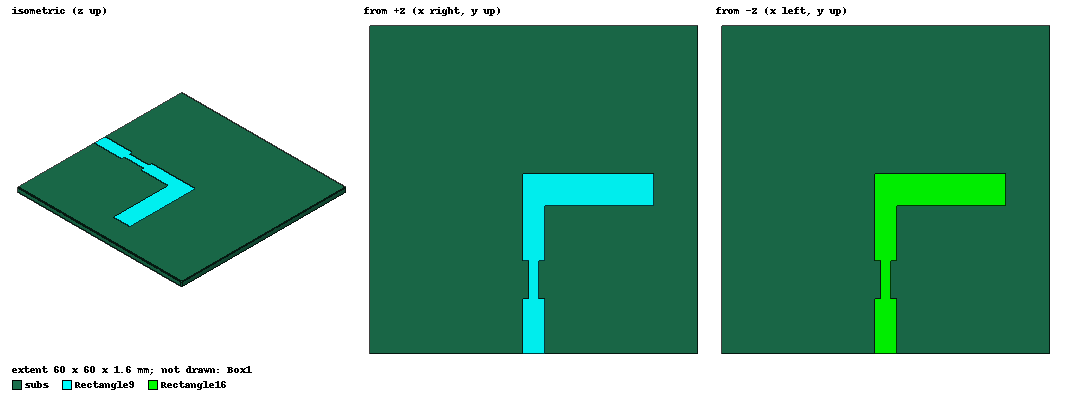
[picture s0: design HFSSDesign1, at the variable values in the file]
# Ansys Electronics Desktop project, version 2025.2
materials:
  vacuum: permittivity=1
  FR4_epoxy: permittivity=4.4 dielectric_loss_tangent=0.02
  air: permittivity=1.0006 permeability=1.0000004

design HFSSDesign1 (HFSS, HFSS Terminal Network, model units mm)
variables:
  h = 1.6mm
  larm = 24mm
  warm = 6mm
  wfeed = 4mm
  lfeed = 10mm
  lgap = 7mm
  wgap = 2mm
  lsub = 60mm
  wsub = 60mm
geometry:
  subs [FR4_epoxy] = box(corner=(-lsub/2, -wsub/2, 0mm), size=(lsub, wsub, h))
  Port = rectangle(corner=(-2mm, -30mm, 0mm), z_size=1.6mm, x_size=4mm)
  Box1 [air] = box(corner=(-75mm, -75mm, -50mm), size=(150mm, 150mm, 100mm))
  Rectangle9 = rectangle(corner=(-wfeed/2, warm/2, h), x_size=larm, y_size=-warm)
  Rectangle10 = rectangle(corner=(-wfeed/2, -warm/2, h), x_size=wfeed, y_size=-lfeed)
  Rectangle11 = rectangle(corner=(wgap/2, -(lfeed+warm/2), h), x_size=-wgap, y_size=-lgap)
  Rectangle12 = rectangle(corner=(-wfeed/2, -(warm/2+lfeed+lgap), h), x_size=wfeed, y_size=-lfeed)
  Rectangle13 = rectangle(corner=(wfeed/2, -warm/2, 0mm), x_size=-larm, y_size=warm)
  Rectangle14 = rectangle(corner=(-wfeed/2, -warm/2, 0), x_size=wfeed, y_size=-lfeed)
  Rectangle15 = rectangle(corner=(wgap/2, -(lfeed+warm/2), 0mm), x_size=-wgap, y_size=-lgap)
  Rectangle16 = rectangle(corner=(-wfeed/2, -(warm/2+lfeed+lgap), 0mm), x_size=wfeed, y_size=-lfeed)
  Rectangle9.unite(Rectangle10, Rectangle11, Rectangle12)
  Rectangle16.unite(Rectangle15, Rectangle14, Rectangle13)
  group topface = Rectangle9
  group bottomface = Rectangle16
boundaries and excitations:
  Rad1: Radiation Objects=Box1
  PerfE1: Perfect E Objects=Rectangle16
  PerfE2: Perfect E Objects=Rectangle9
  1: Lumped Port Objects=Port LumpedPortType=Modal Modes{Mode1{IntLine{(0, -30, 0) -> (0, -30, 1.6)} CharImp=Zpi RenormImp=50ohm}} Impedance=50ohm
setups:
  Setup1: HfssDriven Frequency=2.4GHz MaxDeltaS=0.02 MaximumPasses=6 MinimumPasses=1 MinimumConvergedPasses=1 PercentRefinement=30 BasisOrder=1 PortAccuracy=2 DrivenSolverType="Direct Solver"
    sweep Sweep: 1.2GHz to 5GHz, 101 points; Type=Interpolating InterpTolerance=0.5 InterpMaxSolns=250 PassivityErrorTolerance=0.0001
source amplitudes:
  1:1: 1V 0deg
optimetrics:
  ParametricSetup1: Parametric Sim._Setups=[Setup1]
    sweep larm: LIN 16mm 28mm 0.5mm
  ParametricSetup2: Parametric Sim._Setups=[Setup1]
    sweep h: LIN 0.8mm 2.4mm 0.2mm
  ParametricSetup3: Parametric Sim._Setups=[Setup1]
    sweep warm: LIN 3mm 9mm 0.5mm
  ParametricSetup4: Parametric Sim._Setups=[Setup1]
    sweep wfeed: LIN 2mm 6mm 0.5mm
  ParametricSetup5: Parametric Sim._Setups=[Setup1]
    sweep lfeed: LIN 5mm 15mm 1mm
  ParametricSetup6: Parametric Sim._Setups=[Setup1]
    sweep lgap: LIN 3.5mm 10.5mm 1mm
  ParametricSetup7: Parametric Sim._Setups=[Setup1]
    sweep wgap: LIN 1mm 3mm 0.5mm
  ParametricSetup8: Parametric Sim._Setups=[Setup1]
    sweep lsub: LIN 30mm 90mm 10mm
  ParametricSetup9: Parametric Sim._Setups=[Setup1]
    sweep wsub: LIN 30mm 90mm 10mm
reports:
  S Parameter Plot1: dB(S(1,1)) vs Freq on Setup1 : Sweep [h=all larm=all warm=all wfeed=all]; markers MX1 at x=2.4030443e+09
  S Parameter Plot2: dB(S(1,1)) vs Freq on Setup1 : Sweep [h=all larm=all warm=all wfeed=all lfeed=all]; markers MX1 at x=2.40188e+09
  S Parameter Plot3: dB(S(1,1)) vs Freq on Setup1 : Sweep [h=all larm=all warm=all wfeed=all lfeed=all lgap=all]; markers MX1 at x=2.4011203e+09
  S Parameter Plot4: dB(S(1,1)) vs Freq on Setup1 : Sweep [h=all larm=all warm=all wfeed=all lfeed=all lgap=all wgap=all]; markers MX1 at x=2.4003971e+09
  S Parameter Plot5: dB(S(1,1)) vs Freq on Setup1 : Sweep [h=all larm=all warm=all wfeed=all lfeed=all lgap=all wgap=all lsub=all]; markers MX1 at x=2.4002714e+09, MY1 at y=-30
  S Parameter Plot6: dB(S(1,1)) vs Freq on Setup1 : Sweep [h=all larm=all warm=all wfeed=all lfeed=all lgap=all wgap=all lsub=all wsub=all]; markers MX1 at x=2.4203348e+09
